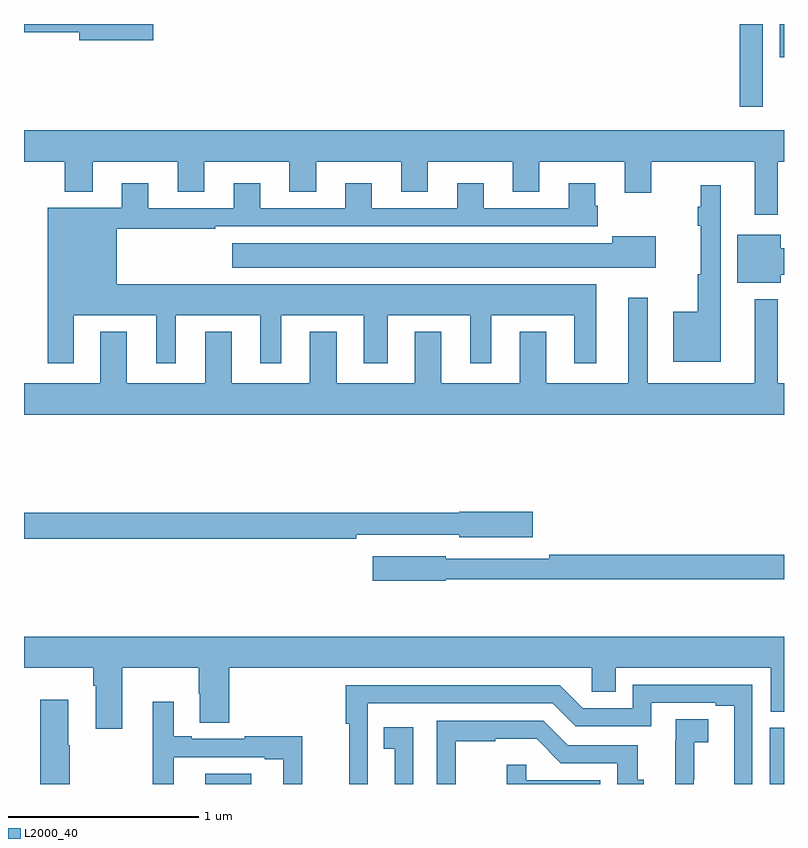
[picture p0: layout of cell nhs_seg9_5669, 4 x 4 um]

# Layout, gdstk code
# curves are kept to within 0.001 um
import gdstk
lib = gdstk.Library(unit=1e-6, precision=1e-09)
def R(c, l, rs):  # rectangles x0, y0, x1, y1
    for r in rs: c.add(gdstk.rectangle(r[:2], r[2:], *l))
def P(c, l, *ps):  # polygons
    for p in ps: c.add(gdstk.Polygon(p, *l))
L2000_40 = (2000, 40)

nhs_seg9_5669 = lib.new_cell('nhs_seg9_5669')
R(nhs_seg9_5669, L2000_40, [(441.953,1170.5,442.195,1170.553), (444.924,1170.5,445,1170.795), (444.768,1174.065,444.889,1174.5), (444.977,1174.325,445,1174.5)])
P(nhs_seg9_5669, L2000_40, [(441.679,1174.5),(441,1174.5),(441,1174.456),(441.29,1174.456),(441.29,1174.414),(441.679,1174.414)],
  [(444.967,1173.776),(445,1173.776),(445,1173.94),(441,1173.94),(441,1173.776),(441.214,1173.776),(441.214,1173.617),(441.361,1173.617),(441.361,1173.776),(441.809,1173.776),(441.809,1173.616),(441.949,1173.616),(441.949,1173.776),(442.397,1173.776),(442.397,1173.616),(442.537,1173.616),(442.537,1173.776),(442.985,1173.776),(442.985,1173.616),(443.125,1173.616),(443.125,1173.776),(443.573,1173.776),(443.573,1173.616),(443.713,1173.616),(443.713,1173.776),(444.161,1173.776),(444.161,1173.612),(444.301,1173.612),(444.301,1173.776),(444.845,1173.776),(444.845,1173.495),(444.967,1173.495)],
  [(441.262,1172.966),(441.695,1172.966),(441.695,1172.715),(441.799,1172.715),(441.799,1172.966),(442.244,1172.966),(442.244,1172.715),(442.354,1172.715),(442.354,1172.966),(442.787,1172.966),(442.787,1172.715),(442.915,1172.715),(442.915,1172.966),(443.348,1172.966),(443.348,1172.715),(443.458,1172.715),(443.458,1172.966),(443.897,1172.966),(443.897,1172.715),(444.013,1172.715),(444.013,1173.13),(441.487,1173.13),(441.487,1173.423),(442.007,1173.423),(442.007,1173.435),(444.02,1173.435),(444.02,1173.543),(444.007,1173.543),(444.007,1173.661),(443.867,1173.661),(443.867,1173.531),(443.419,1173.531),(443.419,1173.661),(443.279,1173.661),(443.279,1173.531),(442.831,1173.531),(442.831,1173.661),(442.691,1173.661),(442.691,1173.531),(442.243,1173.531),(442.243,1173.661),(442.103,1173.661),(442.103,1173.531),(441.655,1173.531),(441.655,1173.661),(441.515,1173.661),(441.515,1173.532),(441.125,1173.532),(441.125,1172.715),(441.262,1172.715)],
  [(444.667,1173.652),(444.561,1173.652),(444.561,1173.539),(444.546,1173.539),(444.546,1173.439),(444.563,1173.439),(444.563,1173.182),(444.546,1173.182),(444.546,1172.986),(444.416,1172.986),(444.416,1172.723),(444.667,1172.723)],
  [(444.982,1173.179),(445,1173.179),(445,1173.321),(444.982,1173.321),(444.982,1173.391),(444.755,1173.391),(444.755,1173.137),(444.982,1173.137)],
  [(444.325,1173.382),(444.095,1173.382),(444.095,1173.346),(442.095,1173.346),(442.095,1173.218),(444.325,1173.218)],
  [(445,1172.608),(444.967,1172.608),(444.967,1173.052),(444.845,1173.052),(444.845,1172.608),(444.283,1172.608),(444.283,1173.058),(444.179,1173.058),(444.179,1172.608),(443.749,1172.608),(443.749,1172.881),(443.609,1172.881),(443.609,1172.608),(443.197,1172.608),(443.197,1172.881),(443.057,1172.881),(443.057,1172.608),(442.645,1172.608),(442.645,1172.881),(442.505,1172.881),(442.505,1172.608),(442.093,1172.608),(442.093,1172.881),(441.953,1172.881),(441.953,1172.608),(441.541,1172.608),(441.541,1172.881),(441.401,1172.881),(441.401,1172.608),(441,1172.608),(441,1172.444),(445,1172.444)],
  [(442.748,1171.812),(443.292,1171.812),(443.292,1171.799),(443.677,1171.799),(443.677,1171.934),(443.292,1171.934),(443.292,1171.928),(441,1171.928),(441,1171.792),(442.748,1171.792)],
  [(443.22,1171.578),(445,1171.578),(445,1171.706),(443.764,1171.706),(443.764,1171.686),(443.22,1171.686),(443.22,1171.699),(442.836,1171.699),(442.836,1171.57),(443.22,1171.57)],
  [(441.517,1171.112),(441.919,1171.112),(441.919,1170.974),(441.926,1170.974),(441.926,1170.823),(442.079,1170.823),(442.079,1171.112),(443.988,1171.112),(443.988,1170.985),(444.115,1170.985),(444.115,1171.112),(444.929,1171.112),(444.929,1170.88),(445,1170.88),(445,1171.276),(441,1171.276),(441,1171.112),(441.365,1171.112),(441.365,1171.016),(441.377,1171.016),(441.377,1170.792),(441.517,1170.792)],
  [(442.81,1170.596),(442.809,1170.924),(443.784,1170.924),(443.904,1170.804),(444.3,1170.804),(444.3,1170.927),(444.641,1170.927),(444.641,1170.912),(444.737,1170.912),(444.737,1170.5),(444.834,1170.5),(444.834,1171.023),(444.204,1171.023),(444.204,1170.9),(443.94,1170.9),(443.82,1171.02),(442.693,1171.02),(442.693,1170.817),(442.711,1170.817),(442.711,1170.5),(442.81,1170.5)],
  [(441.24,1170.704),(441.232,1170.704),(441.232,1170.943),(441.086,1170.943),(441.086,1170.5),(441.24,1170.5)],
  [(441.787,1170.642),(442.268,1170.642),(442.268,1170.63),(442.364,1170.63),(442.364,1170.5),(442.464,1170.5),(442.464,1170.751),(442.162,1170.751),(442.162,1170.738),(441.883,1170.738),(441.883,1170.751),(441.787,1170.751),(441.787,1170.934),(441.677,1170.934),(441.677,1170.689),(441.678,1170.689),(441.678,1170.5),(441.787,1170.5)],
  [(444.525,1170.523),(444.527,1170.523),(444.527,1170.721),(444.601,1170.721),(444.601,1170.842),(444.43,1170.842),(444.43,1170.731),(444.428,1170.731),(444.428,1170.5),(444.525,1170.5)],
  [(443.273,1170.726),(443.48,1170.726),(443.48,1170.737),(443.698,1170.737),(443.826,1170.609),(444.122,1170.609),(444.122,1170.5),(444.262,1170.5),(444.262,1170.522),(444.229,1170.522),(444.229,1170.705),(443.862,1170.705),(443.733,1170.834),(443.172,1170.834),(443.172,1170.5),(443.273,1170.5)],
  [(443.049,1170.799),(442.894,1170.799),(442.894,1170.686),(442.952,1170.686),(442.952,1170.5),(443.049,1170.5)],
  [(444.033,1170.519),(443.643,1170.519),(443.643,1170.601),(443.542,1170.601),(443.542,1170.5),(444.033,1170.5)])

lib.write_gds('nhs_seg9_5669.gds')
